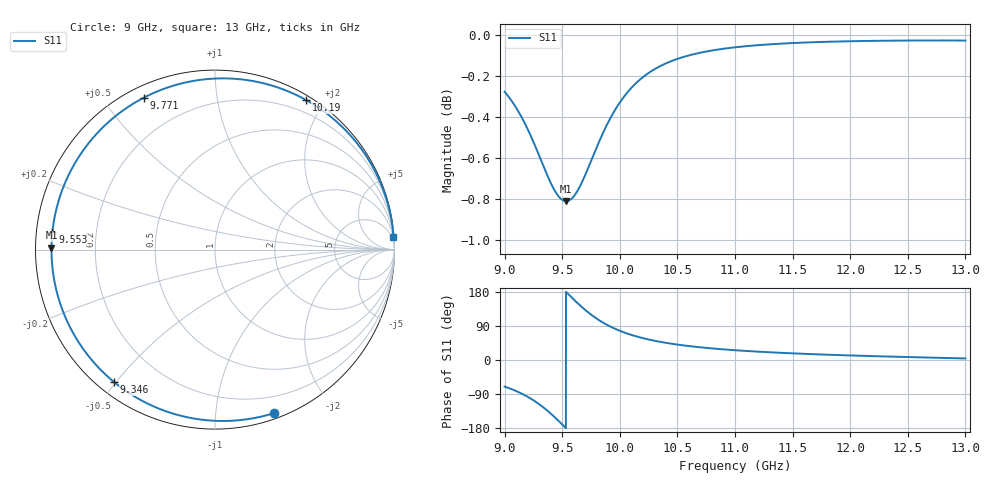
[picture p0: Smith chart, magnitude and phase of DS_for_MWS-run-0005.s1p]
! TOUCHSTONE file generated by CST DESIGN STUDIO
! Date and time: Tue Feb  4 18:19:07 2025
! Project name: C:\Work\MatlabApps\UnitCellOptimizationMatlab\CST\unitcell.cst
! Tree item: Tasks\Sweep1\SPara1\S-Parameters
! Header version: 2024
! Port assignment regex: !\s*Touchstone port\s*([0-9]+)\s*=\s*(CST MWS port|CST DES external port|CST DES block port)\s*(.+)\s* \(\"(.*)\"\)(\s*mode\s*([0-9]+))?.*
! Touchstone port assignment:
! Touchstone port 1 = CST DES external port 1 ("")
# GHz S MA R 50
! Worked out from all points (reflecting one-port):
!   4001 points, 9 GHz to 13 GHz, reference 50 ohm
!   lowest |S11| = -0.8 dB at 9.535 GHz (marker M1), VSWR 21.48, Z = 2.33 + j0.298 ohm
!   phase of S11 starts at -70 deg and turns -286 deg over the sweep
!   S11 on the Smith chart (normalised r, x): 9 GHz: 0.05, -1.42; 9.346 GHz: 0.05, -0.49; 9.553 GHz: 0.05, +0.05; 9.771 GHz: 0.05, +0.63; 10.19 GHz: 0.05, +1.78; 13 GHz: 1, +28
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9  0.9686 -70.2
9.096  0.9603 -81.4
9.203  0.9481 -97.6
9.278  0.9378 -111.9
9.346  0.9278 -127.3
9.418  0.9183 -146.1
9.461  0.9141 -158.4
9.5  0.9117 -170.1
9.535  0.911 179.3
9.553  0.9112 173.8
9.607  0.914 157.7
9.668  0.9203 140.4
9.719  0.9272 127.3
9.771  0.9348 115.2
9.819  0.9417 105.3
9.872  0.9488 95.6
9.936  0.9564 85.6
10  0.9628 77.1
10.09  0.97 67.2
10.188  0.9759 58.6
10.331  0.9819 49.0
10.5  0.9866 40.7
10.721  0.9903 32.8
11  0.993 25.8
11.5  0.9953 17.5
12  0.9964 12.0
12.5  0.9967 7.7
13  0.9967 4.1
